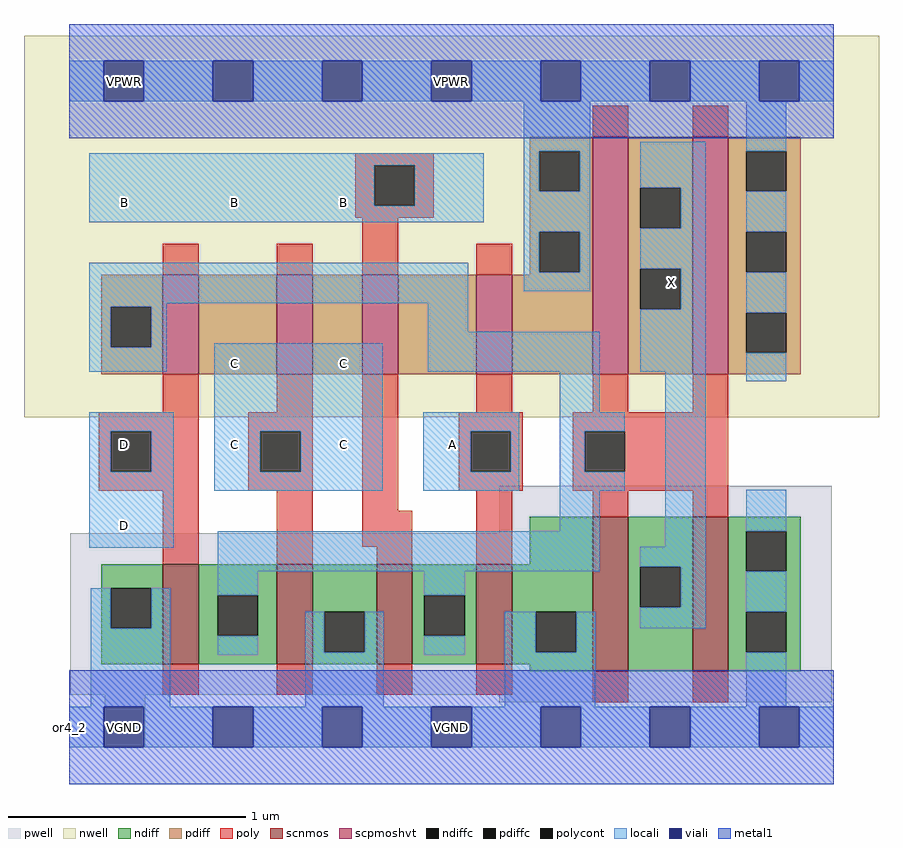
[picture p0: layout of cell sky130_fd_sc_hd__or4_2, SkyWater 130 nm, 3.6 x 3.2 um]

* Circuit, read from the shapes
.subckt sky130_fd_sc_hd__or4_2 A B C D VGND VNB VPB VPWR X
XM1 n1 D VGND VNB sky130_fd_pr__nfet_01v8 w=0.42 l=0.15
XM2 VGND C n1 VNB sky130_fd_pr__nfet_01v8 w=0.42 l=0.15
XM3 n1 B VGND VNB sky130_fd_pr__nfet_01v8 w=0.42 l=0.15
XM4 VGND A n1 VNB sky130_fd_pr__nfet_01v8 w=0.42 l=0.15
XM5 X n1 VGND VNB sky130_fd_pr__nfet_01v8 w=0.65 l=0.15 m=2
XM6 n2 D n1 VPB sky130_fd_pr__pfet_01v8_hvt w=0.42 l=0.15
XM7 n3 C n2 VPB sky130_fd_pr__pfet_01v8_hvt w=0.42 l=0.15
XM8 n4 B n3 VPB sky130_fd_pr__pfet_01v8_hvt w=0.42 l=0.15
XM9 VPWR A n4 VPB sky130_fd_pr__pfet_01v8_hvt w=0.42 l=0.15
XM10 X n1 VPWR VPB sky130_fd_pr__pfet_01v8_hvt w=1 l=0.15 m=2
.ends

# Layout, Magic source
magic
tech sky130B
magscale 1 2
<< nwell >>
rect -38 261 682 582
<< pwell >>
rect 362 163 642 203
rect 1 27 642 163
rect 30 -17 64 27
rect 362 21 642 27
<< scnmos >>
rect 79 53 109 137
rect 175 53 205 137
rect 259 53 289 137
rect 343 53 373 137
rect 441 47 471 177
rect 525 47 555 177
<< scpmoshvt >>
rect 79 297 109 381
rect 175 297 205 381
rect 247 297 277 381
rect 343 297 373 381
rect 441 297 471 497
rect 525 297 555 497
<< ndiff >>
rect 388 137 441 177
rect 27 117 79 137
rect 27 83 35 117
rect 69 83 79 117
rect 27 53 79 83
rect 109 111 175 137
rect 109 77 125 111
rect 159 77 175 111
rect 109 53 175 77
rect 205 97 259 137
rect 205 63 215 97
rect 249 63 259 97
rect 205 53 259 63
rect 289 111 343 137
rect 289 77 299 111
rect 333 77 343 111
rect 289 53 343 77
rect 373 97 441 137
rect 373 63 393 97
rect 427 63 441 97
rect 373 53 441 63
rect 388 47 441 53
rect 471 135 525 177
rect 471 101 481 135
rect 515 101 525 135
rect 471 47 525 101
rect 555 165 616 177
rect 555 131 570 165
rect 604 131 616 165
rect 555 97 616 131
rect 555 63 570 97
rect 604 63 616 97
rect 555 47 616 63
<< pdiff >>
rect 388 485 441 497
rect 388 451 396 485
rect 430 451 441 485
rect 388 417 441 451
rect 388 383 396 417
rect 430 383 441 417
rect 388 381 441 383
rect 27 354 79 381
rect 27 320 35 354
rect 69 320 79 354
rect 27 297 79 320
rect 109 297 175 381
rect 205 297 247 381
rect 277 297 343 381
rect 373 297 441 381
rect 471 454 525 497
rect 471 420 481 454
rect 515 420 525 454
rect 471 386 525 420
rect 471 352 481 386
rect 515 352 525 386
rect 471 297 525 352
rect 555 485 616 497
rect 555 451 570 485
rect 604 451 616 485
rect 555 417 616 451
rect 555 383 570 417
rect 604 383 616 417
rect 555 349 616 383
rect 555 315 570 349
rect 604 315 616 349
rect 555 297 616 315
<< ndiffc >>
rect 35 83 69 117
rect 125 77 159 111
rect 215 63 249 97
rect 299 77 333 111
rect 393 63 427 97
rect 481 101 515 135
rect 570 131 604 165
rect 570 63 604 97
<< pdiffc >>
rect 396 451 430 485
rect 396 383 430 417
rect 35 320 69 354
rect 481 420 515 454
rect 481 352 515 386
rect 570 451 604 485
rect 570 383 604 417
rect 570 315 604 349
<< poly >>
rect 441 497 471 523
rect 525 497 555 523
rect 241 473 307 483
rect 241 439 257 473
rect 291 439 307 473
rect 241 429 307 439
rect 79 381 109 407
rect 175 381 205 407
rect 247 381 277 429
rect 343 381 373 407
rect 79 265 109 297
rect 175 265 205 297
rect 25 249 109 265
rect 25 215 35 249
rect 69 215 109 249
rect 25 199 109 215
rect 151 249 205 265
rect 151 215 161 249
rect 195 215 205 249
rect 151 199 205 215
rect 79 137 109 199
rect 175 137 205 199
rect 247 182 277 297
rect 343 265 373 297
rect 441 265 471 297
rect 525 265 555 297
rect 328 249 382 265
rect 328 215 338 249
rect 372 215 382 249
rect 328 199 382 215
rect 424 249 555 265
rect 424 215 434 249
rect 468 215 555 249
rect 424 199 555 215
rect 247 152 289 182
rect 259 137 289 152
rect 343 137 373 199
rect 441 177 471 199
rect 525 177 555 199
rect 79 27 109 53
rect 175 27 205 53
rect 259 27 289 53
rect 343 27 373 53
rect 441 21 471 47
rect 525 21 555 47
<< polycont >>
rect 257 439 291 473
rect 35 215 69 249
rect 161 215 195 249
rect 338 215 372 249
rect 434 215 468 249
<< locali >>
rect 0 527 29 561
rect 63 527 121 561
rect 155 527 213 561
rect 247 527 305 561
rect 339 527 397 561
rect 431 527 489 561
rect 523 527 581 561
rect 615 527 644 561
rect 383 485 439 527
rect 17 473 349 483
rect 17 439 257 473
rect 291 439 349 473
rect 17 425 349 439
rect 383 451 396 485
rect 430 451 439 485
rect 383 417 439 451
rect 17 357 336 391
rect 383 383 396 417
rect 430 383 439 417
rect 383 367 439 383
rect 481 454 536 493
rect 515 420 536 454
rect 481 386 536 420
rect 17 354 82 357
rect 17 320 35 354
rect 69 320 82 354
rect 302 333 336 357
rect 515 352 536 386
rect 17 299 82 320
rect 17 249 88 265
rect 17 215 35 249
rect 69 215 88 249
rect 17 151 88 215
rect 122 249 264 323
rect 302 299 447 333
rect 481 299 536 352
rect 413 265 447 299
rect 122 215 161 249
rect 195 215 264 249
rect 122 199 264 215
rect 298 249 379 265
rect 298 215 338 249
rect 372 215 379 249
rect 298 199 379 215
rect 413 249 468 265
rect 413 215 434 249
rect 413 199 468 215
rect 413 165 447 199
rect 125 131 447 165
rect 502 152 536 299
rect 570 485 604 527
rect 570 417 604 451
rect 570 349 604 383
rect 570 291 604 315
rect 481 135 536 152
rect 18 83 35 117
rect 69 83 85 117
rect 18 17 85 83
rect 125 111 159 131
rect 299 111 333 131
rect 125 61 159 77
rect 199 63 215 97
rect 249 63 265 97
rect 199 17 265 63
rect 515 101 536 135
rect 299 61 333 77
rect 367 63 393 97
rect 427 63 443 97
rect 481 83 536 101
rect 570 165 604 200
rect 570 97 604 131
rect 367 17 443 63
rect 570 17 604 63
rect 0 -17 29 17
rect 63 -17 121 17
rect 155 -17 213 17
rect 247 -17 305 17
rect 339 -17 397 17
rect 431 -17 489 17
rect 523 -17 581 17
rect 615 -17 644 17
<< viali >>
rect 29 527 63 561
rect 121 527 155 561
rect 213 527 247 561
rect 305 527 339 561
rect 397 527 431 561
rect 489 527 523 561
rect 581 527 615 561
rect 29 -17 63 17
rect 121 -17 155 17
rect 213 -17 247 17
rect 305 -17 339 17
rect 397 -17 431 17
rect 489 -17 523 17
rect 581 -17 615 17
<< metal1 >>
rect 0 561 644 592
rect 0 527 29 561
rect 63 527 121 561
rect 155 527 213 561
rect 247 527 305 561
rect 339 527 397 561
rect 431 527 489 561
rect 523 527 581 561
rect 615 527 644 561
rect 0 496 644 527
rect 0 17 644 48
rect 0 -17 29 17
rect 63 -17 121 17
rect 155 -17 213 17
rect 247 -17 305 17
rect 339 -17 397 17
rect 431 -17 489 17
rect 523 -17 581 17
rect 615 -17 644 17
rect 0 -48 644 -17
<< labels >>
flabel locali s 214 221 248 255 0 FreeSans 400 0 0 0 C
port 3 nsew signal input
flabel locali s 306 221 340 255 0 FreeSans 400 0 0 0 A
port 1 nsew signal input
flabel locali s 490 357 524 391 0 FreeSans 200 0 0 0 X
port 9 nsew signal output
flabel locali s 122 221 156 255 0 FreeSans 400 0 0 0 C
port 3 nsew signal input
flabel locali s 214 425 248 459 0 FreeSans 400 0 0 0 B
port 2 nsew signal input
flabel locali s 122 425 156 459 0 FreeSans 400 0 0 0 B
port 2 nsew signal input
flabel locali s 122 289 156 323 0 FreeSans 400 0 0 0 C
port 3 nsew signal input
flabel locali s 30 425 64 459 0 FreeSans 400 0 0 0 B
port 2 nsew signal input
flabel locali s 214 289 248 323 0 FreeSans 400 0 0 0 C
port 3 nsew signal input
flabel locali s 30 221 64 255 0 FreeSans 400 0 0 0 D
port 4 nsew signal input
flabel locali s 30 153 64 187 0 FreeSans 400 0 0 0 D
port 4 nsew signal input
flabel metal1 s 30 527 64 561 0 FreeSans 200 0 0 0 VPWR
port 8 nsew power bidirectional abutment
flabel metal1 s 30 -17 64 17 0 FreeSans 200 0 0 0 VGND
port 5 nsew ground bidirectional abutment
flabel nwell s 30 527 64 561 0 FreeSans 200 0 0 0 VPB
port 7 nsew power bidirectional
flabel pwell s 30 -17 64 17 0 FreeSans 200 0 0 0 VNB
port 6 nsew ground bidirectional
rlabel comment s 0 0 0 0 4 or4_2
rlabel metal1 s 0 -48 644 48 1 VGND
port 5 nsew ground bidirectional abutment
rlabel metal1 s 0 496 644 592 1 VPWR
port 8 nsew power bidirectional abutment
<< properties >>
string FIXED_BBOX 0 0 644 544
string GDS_END 1060902
string GDS_FILE $PDKPATH/libs.ref/sky130_fd_sc_hd/gds/sky130_fd_sc_hd.gds
string GDS_START 1054352
string LEFclass CORE
string LEFsite unithd
string LEFsymmetry X Y R90
string path 0.000 0.000 3.220 0.000 
<< end >>
